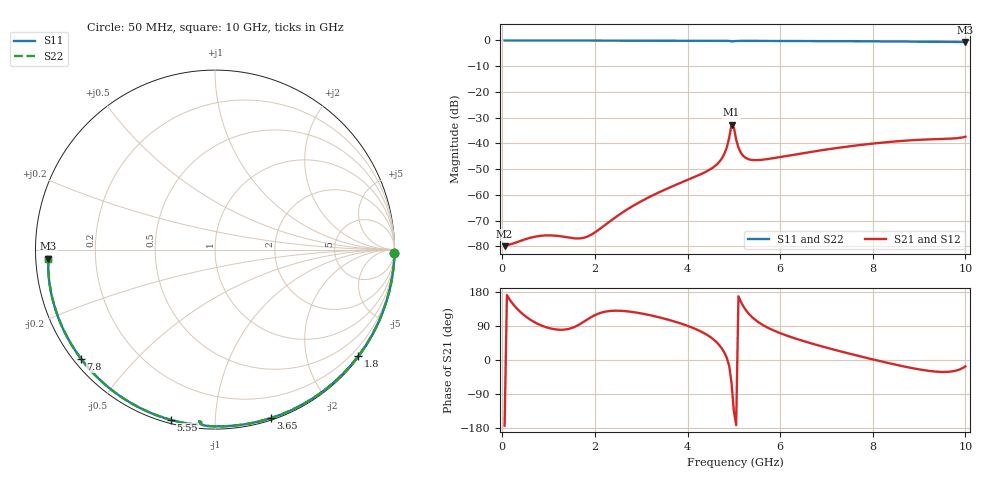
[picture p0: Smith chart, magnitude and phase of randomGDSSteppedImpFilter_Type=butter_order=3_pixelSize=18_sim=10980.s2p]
! freq	dB(S11)	phase(S11)	dB(S12)	phase(S12)
!  dB(S21)	phase(S21)	dB(S22)	phase(S22)
!S-par simulation data
#  GHz  S  DB  R 50
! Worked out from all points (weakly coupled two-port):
!   200 points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, 50 MHz to 10 GHz, reference 50 ohm
!   highest |S21| = -32.74 dB at 4.95 GHz (marker M1); lowest = -79.9 dB at 50 MHz (marker M2)
!   lowest |S11| = -0.6 dB at 10 GHz (marker M3), VSWR 27.44, Z = 1.82 - j1.36 ohm
!   |S11| at or under -10 dB: nowhere
!   |S22| runs from -0.6 to 0.0 dB; largest |S21 - S12| = 0
!   S11 on the Smith chart (normalised r, x): 50 MHz: open; 1.8 GHz: 0.03, -3.03; 3.65 GHz: 0.02, -1.38; 5.55 GHz: 0.02, -0.77; 7.8 GHz: 0.02, -0.36; 10 GHz: 0.04, -0.03
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0.05  -0.00 -1.0  -79.90 -173.2  -79.90 -173.2  -0.00 -1.0
0.85  -0.02 -17.5  -75.84 90.8  -75.84 90.8  -0.02 -17.5
1.75  -0.05 -35.5  -76.67 100.2  -76.67 100.2  -0.05 -35.5
1.8  -0.05 -36.5  -76.42 104.2  -76.42 104.2  -0.05 -36.5
2.75  -0.07 -54.9  -65.04 127.7  -65.04 127.7  -0.07 -54.9
3.4  -0.09 -67.1  -58.85 112.2  -58.85 112.2  -0.09 -67.0
3.65  -0.10 -71.7  -56.84 104.0  -56.84 104.0  -0.10 -71.6
4.4  -0.12 -85.1  -50.96 67.9  -50.96 67.9  -0.12 -85.0
4.65  -0.13 -89.6  -47.84 44.0  -47.84 44.0  -0.13 -89.5
4.75  -0.14 -91.4  -45.57 28.7  -45.57 28.7  -0.14 -91.3
4.85  -0.16 -93.3  -41.43 4.9  -41.43 4.9  -0.16 -93.2
4.95  -0.35 -95.3  -32.74 -60.1  -32.74 -60.1  -0.34 -95.2
5  -0.32 -94.6  -33.73 -134.8  -33.73 -134.8  -0.32 -94.5
5.05  -0.21 -95.6  -38.51 -171.9  -38.51 -171.9  -0.21 -95.5
5.1  -0.18 -96.6  -41.62 168.3  -41.62 168.3  -0.18 -96.5
5.2  -0.17 -98.5  -44.78 142.7  -44.78 142.7  -0.17 -98.4
5.35  -0.17 -101.1  -46.29 118.3  -46.29 118.3  -0.17 -101.0
5.55  -0.17 -104.5  -46.44 98.1  -46.44 98.1  -0.17 -104.4
6.7  -0.24 -123.3  -43.17 42.8  -43.17 42.8  -0.24 -123.2
7.8  -0.33 -140.8  -40.46 7.5  -40.46 7.5  -0.33 -140.7
8.35  -0.38 -149.6  -39.43 -8.4  -39.43 -8.4  -0.38 -149.4
10  -0.63 -176.9  -37.39 -16.9  -37.39 -16.9  -0.63 -176.7
